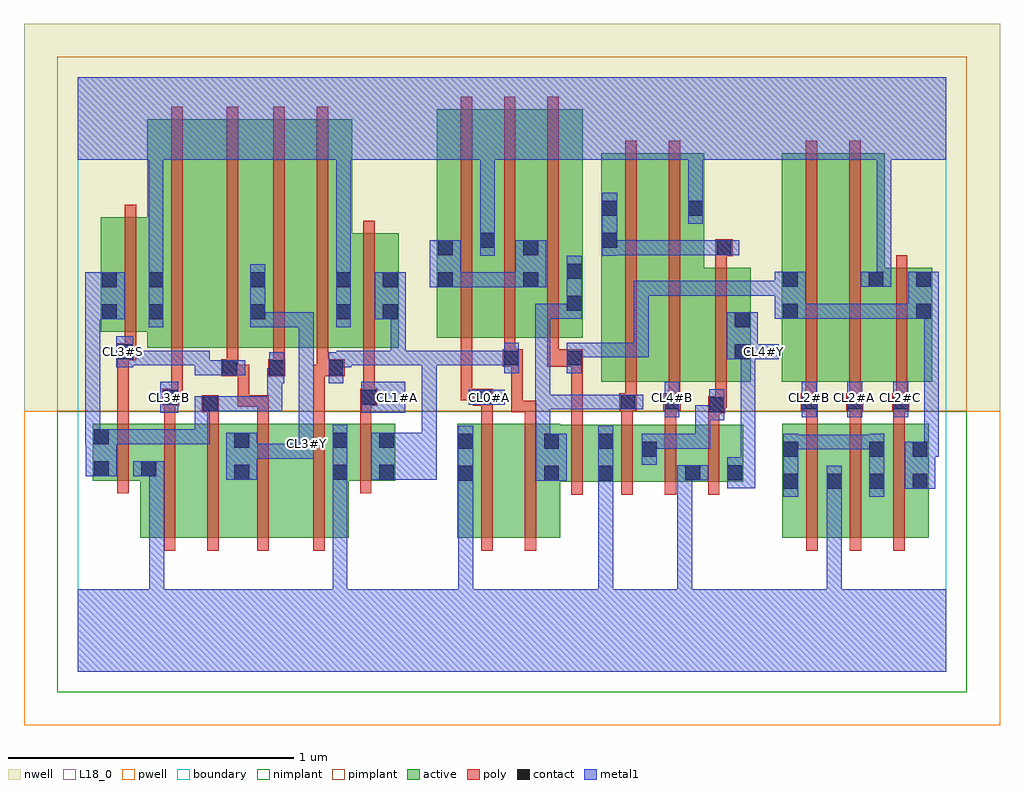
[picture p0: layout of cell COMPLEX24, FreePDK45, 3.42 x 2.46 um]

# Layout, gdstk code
import gdstk
lib = gdstk.Library(unit=1e-6, precision=1e-09)
def R(c, l, rs):  # rectangles x0, y0, x1, y1
    for r in rs: c.add(gdstk.rectangle(r[:2], r[2:], *l))
def A(c, l, x, y, w, h, nx, ny, dx, dy):  # array of equal rectangles
    R(c, l, [(x+i*dx, y+j*dy, x+i*dx+w, y+j*dy+h) for i in range(nx) for j in range(ny)])
active = (1, 0)
pwell = (2, 0)
nwell = (3, 0)
nimplant = (4, 0)
pimplant = (5, 0)
poly = (9, 0)
contact = (10, 0)
metal1 = (11, 0)
L18_0 = (18, 0)
boundary = (235, 0)

complex24 = lib.new_cell('COMPLEX24')
R(complex24, active, [(0.218,0.468,0.278,0.868), (0.218,0.468,0.398,0.868), (0.398,0.468,0.604,0.868), (0.544,0.468,0.604,0.868), (0.544,0.468,0.768,0.868), (0.768,0.468,0.948,0.868), (0.888,0.468,0.948,0.868), (1.328,0.468,1.388,0.868), (1.328,0.468,1.508,0.868), (1.508,0.468,1.688,0.868), (1.628,0.468,1.688,0.864), (2.466,0.468,2.526,0.868), (2.466,0.468,2.678,0.868), (2.618,0.468,2.678,0.868), (2.618,0.468,2.826,0.868), (2.766,0.468,2.826,0.868), (2.766,0.468,2.978,0.868), (2.918,0.468,2.978,0.868), (1.628,0.664,1.878,0.864), (1.818,0.664,2.03,0.864), (1.818,0.664,1.878,0.836), (1.97,0.664,2.182,0.864), (2.122,0.664,2.33,0.864), (2.27,0.664,2.33,0.864), (2.122,0.666,2.182,0.726), (0.052,0.668,0.112,0.868), (0.052,0.668,0.278,0.868), (0.888,0.668,1.112,0.868), (1.052,0.668,1.112,0.868), (1.97,0.668,2.03,0.808), (1.832,1.014,2.012,1.814), (1.832,1.014,1.916,1.724), (2.012,1.014,2.192,1.814), (2.132,1.014,2.356,1.414), (2.296,1.014,2.356,1.356), (2.464,1.014,2.644,1.814), (2.464,1.014,2.548,1.724), (2.644,1.014,2.824,1.814), (2.764,1.014,2.99,1.414), (2.764,1.014,2.824,1.404), (2.93,1.014,2.99,1.414), (0.244,1.134,0.466,1.934), (0.466,1.134,0.66,1.934), (0.6,1.134,0.78,1.934), (0.6,1.134,0.66,1.724), (0.78,1.134,0.96,1.934), (0.9,1.134,1.124,1.534), (0.9,1.134,0.96,1.402), (1.064,1.134,1.124,1.402), (1.256,1.168,1.316,1.724), (1.256,1.168,1.464,1.968), (1.404,1.168,1.616,1.968), (1.556,1.168,1.768,1.968), (1.708,1.168,1.768,1.724), (0.08,1.19,0.304,1.59), (0.08,1.19,0.14,1.402), (0.244,1.19,0.304,1.402), (1.404,1.206,1.464,1.756), (1.556,1.206,1.616,1.724), (2.132,1.268,2.192,1.652)])
R(complex24, pwell, [(-0.188,-0.188,3.228,0.912)])
R(complex24, nwell, [(-0.188,0.912,3.228,2.268)])
R(complex24, nimplant, [(-0.072,-0.072,3.112,0.912)])
R(complex24, pimplant, [(-0.072,0.912,3.112,2.152)])
A(complex24, poly, 2.55, 0.424, 0.04, 0.488, 3, 1, 0.152, 0)
A(complex24, poly, 1.902, 0.62, 0.04, 0.288, 3, 1, 0.152, 0)
A(complex24, poly, 2.55, 0.872, 0.04, 0.082, 3, 1, 0.152, 0)
A(complex24, poly, 2.53, 0.914, 0.06, 0.06, 3, 1, 0.16, 0)
A(complex24, poly, 1.34, 1.124, 0.04, 0.888, 3, 1, 0.152, 0)
R(complex24, poly, [(0.302,0.424,0.342,0.912), (0.454,0.424,0.494,0.912), (0.628,0.424,0.668,0.912), (0.824,0.424,0.864,0.912), (1.412,0.424,1.452,0.912), (1.564,0.424,1.604,0.912), (1.728,0.62,1.768,0.908), (0.138,0.624,0.178,0.912), (0.988,0.624,1.028,0.912), (1.728,0.868,1.768,1.108), (1.902,0.868,1.942,0.954), (2.054,0.868,2.094,0.954), (2.206,0.868,2.246,0.944), (0.138,0.872,0.178,1.13), (0.302,0.872,0.342,0.97), (0.454,0.872,0.494,0.948), (0.628,0.872,0.668,0.968), (0.824,0.872,0.864,1.074), (0.988,0.872,1.028,0.97), (1.412,0.872,1.452,0.97), (1.564,0.872,1.604,0.948), (2.206,0.904,2.266,0.964), (0.434,0.908,0.494,0.968), (1.518,0.908,1.558,1.108), (1.518,0.908,1.604,0.948), (1.896,0.914,1.956,0.974), (2.05,0.914,2.11,0.974), (2.054,0.914,2.094,0.954), (2.054,0.914,2.094,0.954), (2.55,0.914,2.59,0.954), (2.55,0.914,2.59,0.954), (2.702,0.914,2.742,0.954), (2.702,0.914,2.742,0.954), (2.854,0.914,2.894,0.954), (2.854,0.914,2.894,0.954), (2.226,0.924,2.266,0.964), (2.226,0.924,2.272,0.964), (2.232,0.924,2.272,1.01), (0.56,0.928,0.6,0.968), (0.56,0.928,0.668,0.968), (0.56,0.928,0.6,1.074), (0.628,0.928,0.668,0.968), (0.296,0.93,0.356,0.99), (0.988,0.93,1.048,0.99), (1.382,0.93,1.452,0.99), (1.916,0.934,1.956,1.01), (1.916,0.934,1.956,0.974), (1.916,0.934,1.956,0.974), (2.068,0.934,2.108,1.01), (2.548,0.934,2.588,1.01), (2.7,0.934,2.74,1.01), (2.864,0.934,2.904,1.01), (0.316,0.95,0.356,0.99), (0.316,0.95,0.368,0.99), (0.328,0.95,0.368,1.13), (1,0.95,1.04,0.99), (1,0.95,1.04,0.99), (1,0.95,1.04,1.13), (1.34,0.95,1.38,1.164), (1.34,0.95,1.422,0.99), (1.382,0.95,1.422,0.99), (1.916,0.97,1.956,1.858), (2.068,0.97,2.108,1.858), (2.232,0.97,2.272,1.458), (2.548,0.97,2.588,1.858), (2.7,0.97,2.74,1.858), (2.864,0.97,2.904,1.458), (0.502,1.034,0.562,1.094), (0.522,1.034,0.6,1.074), (0.56,1.034,0.6,1.074), (0.666,1.034,0.726,1.094), (0.824,1.034,0.876,1.074), (0.836,1.034,0.876,1.074), (0.836,1.034,0.934,1.094), (0.522,1.054,0.562,1.13), (0.684,1.054,0.724,1.13), (0.836,1.054,0.876,1.13), (1.488,1.068,1.558,1.128), (1.644,1.068,1.768,1.128), (1.728,1.068,1.768,1.108), (1.728,1.068,1.768,1.108), (1.492,1.088,1.532,1.164), (1.644,1.088,1.684,1.164), (0.138,1.09,0.178,1.13), (0.138,1.09,0.178,1.13), (0.138,1.09,0.204,1.15), (0.328,1.09,0.368,1.978), (0.522,1.09,0.562,1.978), (0.684,1.09,0.724,1.978), (0.836,1.09,0.876,1.978), (1,1.09,1.04,1.578), (0.164,1.11,0.204,1.186), (0.164,1.146,0.204,1.634), (2.232,1.418,2.272,1.494), (2.232,1.454,2.292,1.514)])
A(complex24, contact, 2.534, 0.918, 0.052, 0.052, 3, 1, 0.16, 0)
R(complex24, contact, [(2.47,0.64,2.522,0.692), (2.622,0.64,2.674,0.692), (2.77,0.64,2.822,0.692), (2.922,0.64,2.974,0.692), (1.332,0.668,1.384,0.72), (1.632,0.668,1.684,0.72), (1.822,0.668,1.874,0.72), (2.126,0.67,2.178,0.722), (2.274,0.67,2.326,0.722), (0.548,0.672,0.6,0.724), (0.892,0.672,0.944,0.724), (1.056,0.672,1.108,0.724), (0.056,0.684,0.108,0.736), (0.222,0.684,0.274,0.736), (1.974,0.752,2.026,0.804), (2.47,0.752,2.522,0.804), (2.77,0.752,2.822,0.804), (2.922,0.752,2.974,0.804), (1.332,0.78,1.384,0.832), (1.632,0.78,1.684,0.832), (1.822,0.78,1.874,0.832), (0.548,0.784,0.6,0.836), (0.892,0.784,0.944,0.836), (1.056,0.784,1.108,0.836), (0.056,0.796,0.108,0.848), (2.21,0.908,2.262,0.96), (0.438,0.912,0.49,0.964), (1.9,0.918,1.952,0.97), (2.054,0.918,2.106,0.97), (0.3,0.934,0.352,0.986), (0.992,0.934,1.044,0.986), (1.396,0.934,1.448,0.986), (0.506,1.038,0.558,1.09), (0.67,1.038,0.722,1.09), (0.878,1.038,0.93,1.09), (1.492,1.072,1.544,1.124), (1.712,1.072,1.764,1.124), (0.142,1.094,0.194,1.146), (2.3,1.094,2.352,1.146), (2.3,1.206,2.352,1.258), (0.084,1.234,0.136,1.286), (0.248,1.234,0.3,1.286), (0.604,1.234,0.656,1.286), (0.904,1.234,0.956,1.286), (1.068,1.234,1.12,1.286), (2.468,1.236,2.52,1.288), (2.934,1.236,2.986,1.288), (1.712,1.264,1.764,1.316), (0.084,1.346,0.136,1.398), (0.248,1.346,0.3,1.398), (0.604,1.346,0.656,1.398), (0.904,1.346,0.956,1.398), (1.068,1.346,1.12,1.398), (1.26,1.346,1.312,1.398), (1.56,1.346,1.612,1.398), (2.468,1.348,2.52,1.4), (2.768,1.348,2.82,1.4), (2.934,1.348,2.986,1.4), (1.712,1.376,1.764,1.428), (1.26,1.458,1.312,1.51), (1.56,1.458,1.612,1.51), (2.236,1.458,2.288,1.51), (1.408,1.484,1.46,1.536), (1.836,1.484,1.888,1.536), (1.836,1.596,1.888,1.648), (2.136,1.596,2.188,1.648)])
A(complex24, metal1, 2.534, 0.89, 0.052, 0.124, 3, 1, 0.16, 0)
R(complex24, metal1, [(0,0,3.04,0.288), (0.25,0.236,0.302,0.288), (0.25,0.236,0.302,0.288), (0.25,0.236,0.302,0.736), (0.892,0.236,0.944,0.288), (0.892,0.236,0.944,0.288), (0.892,0.236,0.944,0.696), (1.332,0.236,1.384,0.692), (1.822,0.236,1.874,0.692), (2.098,0.236,2.15,0.288), (2.098,0.236,2.15,0.288), (2.098,0.236,2.15,0.722), (2.622,0.236,2.674,0.664), (2.47,0.612,2.522,0.832), (2.622,0.612,2.674,0.664), (2.622,0.612,2.674,0.664), (2.622,0.612,2.674,0.72), (2.77,0.612,2.822,0.832), (1.332,0.64,1.384,0.692), (1.332,0.64,1.384,0.692), (1.332,0.64,1.384,0.86), (1.822,0.64,1.874,0.692), (1.822,0.64,1.874,0.692), (1.822,0.64,1.874,0.692), (1.822,0.64,1.874,0.692), (1.822,0.64,1.874,0.692), (1.822,0.64,1.874,0.692), (1.822,0.64,1.874,0.86), (2.894,0.64,3.002,0.804), (2.274,0.642,2.372,0.75), (0.892,0.644,0.944,0.864), (1.602,0.668,1.712,0.832), (2.098,0.67,2.15,0.722), (2.098,0.67,2.15,0.722), (2.098,0.67,2.15,0.722), (2.098,0.67,2.15,0.722), (2.098,0.67,2.206,0.722), (0.52,0.672,0.628,0.836), (1.028,0.672,1.256,0.836), (0.028,0.684,0.136,0.848), (0.194,0.684,0.302,0.736), (2.32,0.698,2.372,1.146), (1.974,0.724,2.026,0.832), (0.576,0.746,0.82,0.798), (0.768,0.746,0.82,0.798), (0.768,0.746,0.826,0.798), (0.774,0.746,0.826,0.798), (0.774,0.746,0.826,0.798), (0.774,0.746,0.826,0.854), (2.95,0.752,3.002,0.804), (2.95,0.752,3.014,0.804), (2.962,0.752,3.014,1.288), (2.47,0.778,2.522,0.83), (2.47,0.778,2.522,0.83), (2.47,0.778,2.664,0.83), (2.612,0.778,2.664,0.83), (2.612,0.778,2.664,0.83), (2.612,0.778,2.664,0.83), (2.612,0.778,2.822,0.83), (1.602,0.78,1.654,0.97), (1.974,0.78,2.108,0.832), (2.056,0.78,2.108,0.832), (2.056,0.78,2.214,0.832), (2.162,0.78,2.214,0.832), (2.162,0.78,2.214,0.932), (1.204,0.784,1.256,0.836), (1.204,0.784,1.256,0.836), (1.204,0.784,1.256,1.124), (0.026,0.796,0.078,1.286), (0.026,0.796,0.08,0.848), (0.028,0.796,0.08,0.848), (0.084,0.796,0.136,0.848), (0.084,0.796,0.136,0.848), (0.084,0.796,0.304,0.848), (0.252,0.796,0.304,0.848), (0.252,0.796,0.304,0.848), (0.252,0.796,0.304,0.848), (0.252,0.796,0.462,0.848), (0.41,0.796,0.462,0.848), (0.41,0.796,0.462,0.964), (0.774,0.802,0.826,1.258), (2.162,0.88,2.214,0.932), (2.162,0.88,2.262,0.932), (2.21,0.88,2.262,0.988), (2.054,0.89,2.106,1.014), (0.288,0.906,0.352,1.014), (0.992,0.906,1.146,1.014), (0.41,0.912,0.462,0.964), (0.41,0.912,0.462,0.964), (0.41,0.912,0.518,0.964), (0.466,0.912,0.716,0.964), (0.664,0.912,0.716,0.964), (0.664,0.912,0.716,1.062), (1.602,0.918,1.654,0.97), (1.602,0.918,1.654,0.97), (1.602,0.918,1.654,0.97), (1.602,0.918,1.764,0.97), (1.602,0.918,1.654,1.288), (1.712,0.918,1.764,0.97), (1.712,0.918,1.764,0.97), (1.712,0.918,1.764,0.97), (1.712,0.918,1.888,0.97), (1.836,0.918,1.888,0.97), (1.836,0.918,1.924,0.97), (1.872,0.918,1.98,0.97), (1.368,0.934,1.494,0.986), (0.664,1.01,0.716,1.062), (0.664,1.01,0.722,1.062), (0.67,1.01,0.722,1.118), (0.878,1.01,0.93,1.118), (0.41,1.038,0.53,1.09), (0.41,1.038,0.462,1.124), (0.478,1.038,0.586,1.09), (1.492,1.044,1.544,1.152), (1.712,1.044,1.764,1.152), (0.134,1.066,0.194,1.174), (0.878,1.066,0.958,1.118), (0.906,1.066,0.958,1.124), (0.142,1.072,0.304,1.124), (0.252,1.072,0.304,1.124), (0.252,1.072,0.304,1.124), (0.252,1.072,0.304,1.124), (0.252,1.072,0.462,1.124), (0.906,1.072,1.146,1.124), (1.094,1.072,1.146,1.124), (1.094,1.072,1.146,1.124), (1.094,1.072,1.256,1.124), (1.096,1.072,1.148,1.286), (1.204,1.072,1.256,1.124), (1.204,1.072,1.256,1.124), (1.204,1.072,1.434,1.124), (1.382,1.072,1.434,1.124), (1.382,1.072,1.45,1.124), (1.398,1.072,1.45,1.124), (1.398,1.072,1.544,1.124), (2.272,1.094,2.38,1.258), (2.32,1.094,2.454,1.146), (2.328,1.094,2.38,1.146), (2.328,1.094,2.38,1.146), (2.328,1.094,2.38,1.146), (1.712,1.1,1.764,1.152), (1.712,1.1,1.764,1.152), (1.712,1.1,1.888,1.152), (1.836,1.1,1.888,1.152), (1.836,1.1,1.888,1.152), (1.836,1.1,1.888,1.152), (1.836,1.1,1.998,1.152), (1.946,1.1,1.998,1.152), (1.946,1.1,1.998,1.368), (0.248,1.206,0.3,1.426), (0.604,1.206,0.656,1.426), (0.604,1.206,0.696,1.258), (0.644,1.206,0.696,1.258), (0.644,1.206,0.826,1.258), (0.774,1.206,0.826,1.258), (0.774,1.206,0.826,1.258), (0.774,1.206,0.826,1.258), (0.904,1.206,0.956,1.426), (0.026,1.234,0.078,1.286), (0.026,1.234,0.078,1.286), (0.026,1.234,0.164,1.398), (1.04,1.234,1.148,1.398), (1.602,1.236,1.654,1.288), (1.602,1.236,1.764,1.288), (1.712,1.236,1.764,1.288), (1.712,1.236,1.764,1.288), (1.712,1.236,1.764,1.456), (2.44,1.236,2.548,1.4), (2.496,1.236,2.548,1.288), (2.496,1.236,2.548,1.288), (2.496,1.236,2.548,1.288), (2.496,1.236,2.548,1.288), (2.496,1.236,2.682,1.288), (2.63,1.236,2.682,1.288), (2.63,1.236,2.796,1.288), (2.744,1.236,2.796,1.288), (2.744,1.236,2.796,1.288), (2.744,1.236,2.796,1.288), (2.744,1.236,2.958,1.288), (2.906,1.236,2.958,1.288), (2.906,1.236,2.958,1.288), (2.906,1.236,3.014,1.4), (2.962,1.236,3.014,1.288), (2.962,1.236,3.014,1.288), (1.946,1.316,1.998,1.368), (1.946,1.316,2.15,1.368), (2.098,1.316,2.15,1.368), (2.098,1.316,2.15,1.368), (2.098,1.316,2.15,1.368), (2.098,1.316,2.15,1.368), (2.098,1.316,2.15,1.368), (2.098,1.316,2.382,1.368), (2.33,1.316,2.382,1.368), (2.33,1.316,2.382,1.368), (2.33,1.316,2.382,1.368), (2.33,1.316,2.492,1.368), (1.232,1.346,1.34,1.51), (1.288,1.346,1.366,1.398), (1.314,1.346,1.366,1.398), (1.314,1.346,1.45,1.398), (1.398,1.346,1.45,1.398), (1.398,1.346,1.45,1.398), (1.398,1.346,1.45,1.398), (1.398,1.346,1.584,1.398), (1.532,1.346,1.584,1.398), (1.532,1.346,1.584,1.398), (1.532,1.346,1.64,1.51), (2.74,1.348,2.848,1.4), (2.796,1.348,2.848,1.844), (0.248,1.374,0.3,1.844), (0.904,1.374,0.956,1.844), (1.408,1.456,1.46,1.564), (1.836,1.456,1.888,1.676), (1.836,1.458,1.998,1.51), (1.946,1.458,1.998,1.51), (1.946,1.458,1.998,1.51), (1.946,1.458,1.998,1.51), (1.946,1.458,2.136,1.51), (2.084,1.458,2.136,1.51), (2.084,1.458,2.136,1.51), (2.084,1.458,2.136,1.51), (2.084,1.458,2.26,1.51), (2.208,1.458,2.316,1.51), (1.408,1.512,1.46,1.844), (2.136,1.568,2.188,1.676), (2.136,1.624,2.188,1.844), (0,1.792,3.04,2.08)])
A(complex24, L18_0, 2.534, 0.89, 0.052, 0.124, 3, 1, 0.16, 0)
A(complex24, L18_0, 2.534, 0.934, 0.052, 0.052, 3, 1, 0.16, 0)
R(complex24, L18_0, [(0,0,3.04,0.288), (0.25,0.236,0.302,0.288), (0.25,0.236,0.302,0.288), (0.25,0.236,0.302,0.736), (0.892,0.236,0.944,0.288), (0.892,0.236,0.944,0.288), (0.892,0.236,0.944,0.696), (1.332,0.236,1.384,0.692), (1.822,0.236,1.874,0.692), (2.098,0.236,2.15,0.288), (2.098,0.236,2.15,0.288), (2.098,0.236,2.15,0.722), (2.622,0.236,2.674,0.664), (2.622,0.612,2.674,0.664), (2.622,0.612,2.674,0.664), (2.622,0.612,2.674,0.72), (1.332,0.64,1.384,0.692), (1.332,0.64,1.384,0.692), (1.332,0.64,1.384,0.86), (1.822,0.64,1.874,0.692), (1.822,0.64,1.874,0.692), (1.822,0.64,1.874,0.692), (1.822,0.64,1.874,0.692), (1.822,0.64,1.874,0.692), (1.822,0.64,1.874,0.692), (1.822,0.64,1.874,0.86), (2.274,0.642,2.372,0.75), (0.892,0.644,0.944,0.864), (2.098,0.67,2.15,0.722), (2.098,0.67,2.15,0.722), (2.098,0.67,2.15,0.722), (2.098,0.67,2.15,0.722), (2.098,0.67,2.206,0.722), (0.52,0.672,0.628,0.836), (0.194,0.684,0.302,0.736), (2.32,0.698,2.372,1.146), (0.576,0.746,0.82,0.798), (0.768,0.746,0.82,0.798), (0.768,0.746,0.826,0.798), (0.774,0.746,0.826,0.798), (0.774,0.746,0.826,0.798), (0.774,0.746,0.826,0.854), (0.774,0.774,0.826,0.826), (0.774,0.802,0.826,1.258), (2.054,0.89,2.106,1.014), (0.288,0.906,0.352,1.014), (0.992,0.906,1.146,1.014), (0.294,0.934,0.346,0.986), (1.094,0.934,1.146,0.986), (1.368,0.934,1.494,0.986), (1.414,0.934,1.466,0.986), (2.054,0.934,2.106,0.986), (0.41,1.038,0.462,1.124), (0.41,1.038,0.53,1.09), (0.478,1.038,0.586,1.09), (0.134,1.066,0.194,1.174), (0.142,1.072,0.304,1.124), (0.252,1.072,0.304,1.124), (0.252,1.072,0.304,1.124), (0.252,1.072,0.304,1.124), (0.252,1.072,0.462,1.124), (0.134,1.094,0.186,1.146), (2.272,1.094,2.38,1.258), (2.32,1.094,2.454,1.146), (2.328,1.094,2.38,1.146), (2.328,1.094,2.38,1.146), (2.328,1.094,2.38,1.146), (2.374,1.094,2.426,1.146), (0.248,1.206,0.3,1.426), (0.604,1.206,0.656,1.426), (0.604,1.206,0.696,1.258), (0.644,1.206,0.696,1.258), (0.644,1.206,0.826,1.258), (0.774,1.206,0.826,1.258), (0.774,1.206,0.826,1.258), (0.774,1.206,0.826,1.258), (0.904,1.206,0.956,1.426), (2.74,1.348,2.848,1.4), (2.796,1.348,2.848,1.844), (0.248,1.374,0.3,1.844), (0.904,1.374,0.956,1.844), (1.408,1.456,1.46,1.564), (1.408,1.512,1.46,1.844), (2.136,1.568,2.188,1.676), (2.136,1.624,2.188,1.844), (0,1.792,3.04,2.08)])
R(complex24, boundary, [(0,0,3.04,2.08)])
complex24.add(gdstk.Label('CL0#A', (1.44,0.96), layer=11, texttype=0))
complex24.add(gdstk.Label('CL1#A', (1.12,0.96), layer=11, texttype=0))
complex24.add(gdstk.Label('CL2#A', (2.72,0.96), layer=11, texttype=0))
complex24.add(gdstk.Label('CL2#B', (2.56,0.96), layer=11, texttype=0))
complex24.add(gdstk.Label('CL2#C', (2.88,0.96), layer=11, texttype=0))
complex24.add(gdstk.Label('CL3#B', (0.32,0.96), layer=11, texttype=0))
complex24.add(gdstk.Label('CL3#S', (0.16,1.12), layer=11, texttype=0))
complex24.add(gdstk.Label('CL3#Y', (0.8,0.8), layer=11, texttype=0))
complex24.add(gdstk.Label('CL4#B', (2.08,0.96), layer=11, texttype=0))
complex24.add(gdstk.Label('CL4#Y', (2.4,1.12), layer=11, texttype=0))

lib.write_gds('COMPLEX24.gds')
